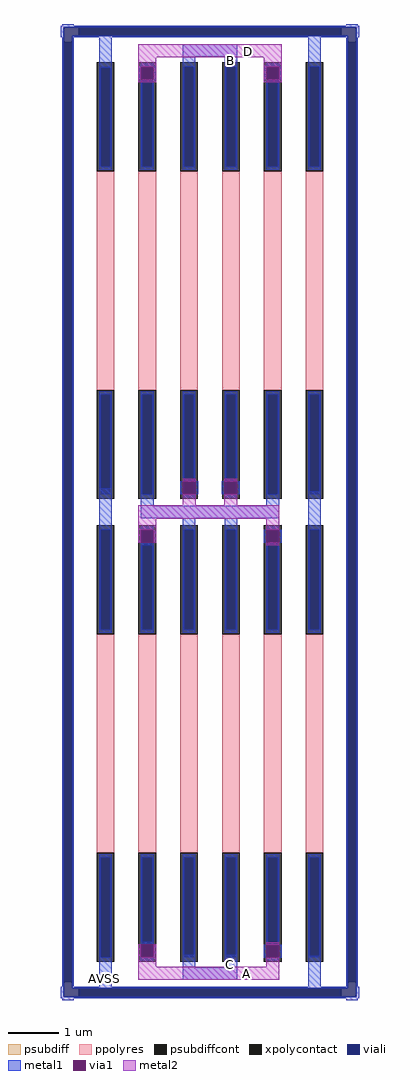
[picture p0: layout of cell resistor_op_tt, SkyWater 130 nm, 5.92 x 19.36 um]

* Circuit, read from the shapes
.subckt resistor_op_tt A C B D AVSS
XR1 n1 AVSS AVSS sky130_fd_pr__res_high_po w=0.35 l=4.34 m=2
XR2 n2 A AVSS sky130_fd_pr__res_high_po w=0.35 l=4.34 m=2
XR3 D n3 AVSS sky130_fd_pr__res_high_po w=0.35 l=4.34 m=2
XR4 n3 C AVSS sky130_fd_pr__res_high_po w=0.35 l=4.34 m=2
XR5 B n2 AVSS sky130_fd_pr__res_high_po w=0.35 l=4.34 m=2
XR6 n4 AVSS AVSS sky130_fd_pr__res_high_po w=0.35 l=4.34 m=2
.ends

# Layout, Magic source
magic
tech sky130A
magscale 1 2
<< psubdiff >>
rect -405 6046 -345 6080
rect 695 6046 755 6080
rect -405 6020 -371 6046
rect -405 2266 -371 2292
rect 721 6020 755 6046
rect 721 2266 755 2292
rect -405 2232 -345 2266
rect 695 2232 755 2266
<< psubdiffcont >>
rect -345 6046 695 6080
rect -405 2292 -371 6020
rect 721 2292 755 6020
rect -345 2232 695 2266
<< viali >>
rect -405 6046 -345 6080
rect -345 6046 695 6080
rect 695 6046 755 6080
rect -405 6020 -371 6046
rect -405 2292 -371 6020
rect -405 2266 -371 2292
rect 721 6020 755 6046
rect 721 2292 755 6020
rect 721 2266 755 2292
rect -405 2232 -345 2266
rect -345 2232 695 2266
rect 695 2232 755 2266
<< metal1 >>
rect -411 6086 -365 6092
rect 715 6086 761 6092
rect -417 6080 767 6086
rect -417 6040 -405 6080
rect -411 2272 -405 6040
rect -417 2232 -405 2272
rect -371 6040 721 6046
rect -371 2272 -365 6040
rect -265 5919 -215 6040
rect 67 5962 283 6012
rect 67 5922 117 5962
rect 233 5922 283 5962
rect 565 5922 615 6040
rect -110 5870 -100 5922
rect -48 5870 -38 5922
rect 388 5870 398 5922
rect 450 5870 460 5922
rect -265 4096 -215 4250
rect 56 4226 66 4278
rect 118 4226 128 4278
rect 222 4226 232 4278
rect 284 4226 294 4278
rect -99 4181 -49 4224
rect 399 4181 449 4227
rect -99 4131 449 4181
rect -100 4086 -48 4096
rect 67 4095 117 4131
rect 233 4098 283 4131
rect 565 4092 615 4239
rect 388 4034 398 4086
rect 450 4034 460 4086
rect -100 4024 -48 4034
rect -100 2442 -48 2452
rect -265 2272 -215 2384
rect -100 2380 -48 2390
rect 67 2350 117 2400
rect 233 2350 283 2400
rect 388 2388 398 2440
rect 450 2388 460 2440
rect 67 2300 283 2350
rect 565 2272 615 2396
rect 715 2272 721 6040
rect -371 2266 721 2272
rect 755 6040 767 6080
rect 755 2272 761 6040
rect 755 2232 767 2272
rect -417 2226 767 2232
rect -411 2220 -365 2226
rect 715 2220 761 2226
<< via1 >>
rect -100 5870 -48 5922
rect 398 5870 450 5922
rect 66 4226 118 4278
rect 232 4226 284 4278
rect -100 4034 -48 4086
rect 398 4034 450 4086
rect -100 2390 -48 2442
rect 398 2388 450 2440
<< metal2 >>
rect -110 5960 460 6012
rect -110 5922 -38 5960
rect -110 5870 -100 5922
rect -48 5870 -38 5922
rect -110 5860 -38 5870
rect 388 5922 460 5960
rect 388 5870 398 5922
rect 450 5870 460 5922
rect 388 5860 460 5870
rect 66 4278 118 4288
rect 66 4182 118 4226
rect 232 4278 284 4288
rect 232 4182 284 4226
rect -110 4130 450 4182
rect -110 4086 -38 4130
rect -110 4034 -100 4086
rect -48 4034 -38 4086
rect 398 4086 450 4130
rect 398 4024 450 4034
rect -110 2390 -100 2442
rect -48 2390 -38 2442
rect -110 2352 -38 2390
rect 398 2440 450 2450
rect 398 2352 450 2388
rect -110 2300 450 2352
use sky130_fd_pr__res_high_po_0p35_RXTQM4  sky130_fd_pr__res_high_po_0p35_RXTQM4_0
transform 1 0 175 0 1 4156
box -450 -1784 450 1784
<< labels >>
flabel metal2 318 2324 318 2324 0 FreeSans 160 0 0 0 A
port 1 nsew
flabel metal1 252 2360 252 2360 0 FreeSans 160 0 0 0 C
port 2 nsew
flabel metal1 257 5949 257 5949 0 FreeSans 160 0 0 0 B
port 3 nsew
flabel metal2 327 5983 327 5983 0 FreeSans 160 0 0 0 D
port 4 nsew
flabel metal1 -245 2304 -245 2304 0 FreeSans 160 0 0 0 AVSS
port 5 nsew
<< end >>

# cell sky130_fd_pr__res_high_po_0p35_RXTQM4: kit device sky130_fd_pr__res_high_po_0p35, w 0.350 l 4.5 m 2 nx 6 wmin 0.350 lmin 0.50 rho 319.8 val 5.224k dummy 0 dw 0.0 term 194.82 sterm 0.0 caplen 0 guard 0 glc 1 grc 1 gtc 1 gbc 1 compatible {sky130_fd_pr__res_high_po_0p35 sky130_fd_pr__res_high_po_0p69 sky130_fd_pr__res_high_po_1p41 sky130_fd_pr__res_high_po_2p85 sky130_fd_pr__res_high_po_5p73} snake 0 full_metal 1 wmax 0.350 vias 1 n_guard 0 hv_guard 0 viagb 0 viagt 0 viagl 0 viagr 0
